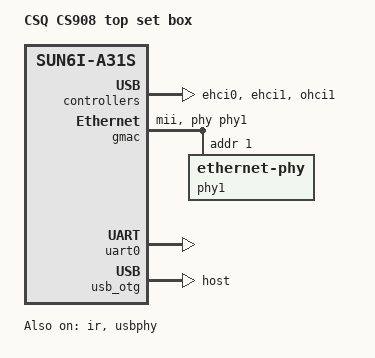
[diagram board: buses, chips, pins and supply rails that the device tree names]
/*
 * Copyright 2014 Hans de Goede <hdegoede@redhat.com>
 *
 * This file is dual-licensed: you can use it either under the terms
 * of the GPL or the X11 license, at your option. Note that this dual
 * licensing only applies to this file, and not this project as a
 * whole.
 *
 *  a) This library is free software; you can redistribute it and/or
 *     modify it under the terms of the GNU General Public License as
 *     published by the Free Software Foundation; either version 2 of the
 *     License, or (at your option) any later version.
 *
 *     This library is distributed in the hope that it will be useful,
 *     but WITHOUT ANY WARRANTY; without even the implied warranty of
 *     MERCHANTABILITY or FITNESS FOR A PARTICULAR PURPOSE.  See the
 *     GNU General Public License for more details.
 *
 * Or, alternatively,
 *
 *  b) Permission is hereby granted, free of charge, to any person
 *     obtaining a copy of this software and associated documentation
 *     files (the "Software"), to deal in the Software without
 *     restriction, including without limitation the rights to use,
 *     copy, modify, merge, publish, distribute, sublicense, and/or
 *     sell copies of the Software, and to permit persons to whom the
 *     Software is furnished to do so, subject to the following
 *     conditions:
 *
 *     The above copyright notice and this permission notice shall be
 *     included in all copies or substantial portions of the Software.
 *
 *     THE SOFTWARE IS PROVIDED "AS IS", WITHOUT WARRANTY OF ANY KIND,
 *     EXPRESS OR IMPLIED, INCLUDING BUT NOT LIMITED TO THE WARRANTIES
 *     OF MERCHANTABILITY, FITNESS FOR A PARTICULAR PURPOSE AND
 *     NONINFRINGEMENT. IN NO EVENT SHALL THE AUTHORS OR COPYRIGHT
 *     HOLDERS BE LIABLE FOR ANY CLAIM, DAMAGES OR OTHER LIABILITY,
 *     WHETHER IN AN ACTION OF CONTRACT, TORT OR OTHERWISE, ARISING
 *     FROM, OUT OF OR IN CONNECTION WITH THE SOFTWARE OR THE USE OR
 *     OTHER DEALINGS IN THE SOFTWARE.
 */

/dts-v1/;
#include "sun6i-a31s.dtsi"

#include <dt-bindings/pinctrl/sun4i-a10.h>

/ {
	model = "CSQ CS908 top set box";
	compatible = "csq,cs908", "allwinner,sun6i-a31s";

	aliases {
		serial0 = &uart0;
	};

	chosen {
		stdout-path = "serial0:115200n8";
	};
};

&ehci0 {
	status = "okay";
};

&ehci1 {
	status = "okay";
};

&gmac {
	pinctrl-names = "default";
	pinctrl-0 = <&gmac_pins_mii_a>;
	phy = <&phy1>;
	phy-mode = "mii";
	status = "okay";
	phy1: ethernet-phy@1 {
		reg = <1>;
	};
};

&ir {
	pinctrl-names = "default";
	pinctrl-0 = <&ir_pins_a>;
	status = "okay";
};

&ohci1 {
	status = "okay";
};

&uart0 {
	pinctrl-names = "default";
	pinctrl-0 = <&uart0_pins_a>;
	status = "okay";
};

&usb_otg {
	dr_mode = "host";
	status = "okay";
};

&usbphy {
	status = "okay";
};
